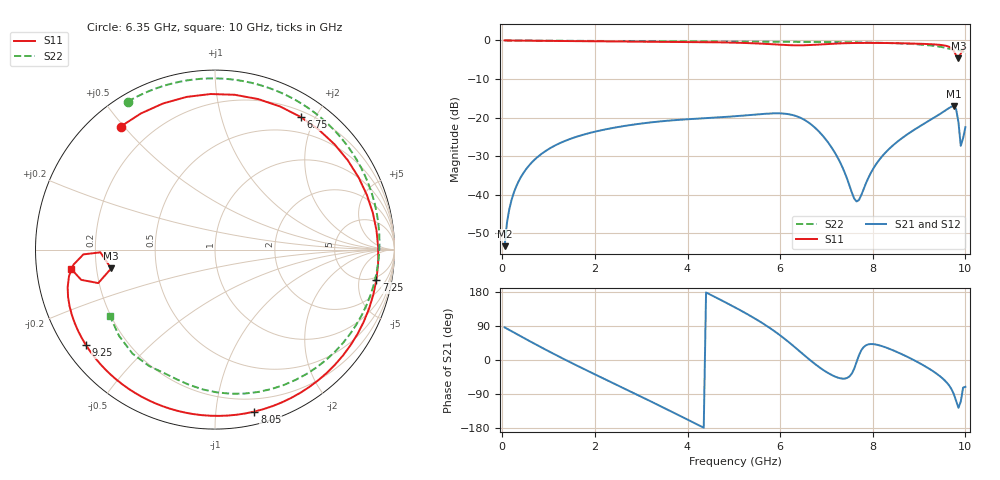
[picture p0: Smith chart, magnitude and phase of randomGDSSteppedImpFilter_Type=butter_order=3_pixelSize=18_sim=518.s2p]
! freq	dB(S11)	phase(S11)	dB(S12)	phase(S12)
!  dB(S21)	phase(S21)	dB(S22)	phase(S22)
!S-par simulation data
#  GHz  S  DB  R 50
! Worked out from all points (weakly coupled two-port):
!   200 points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, 50 MHz to 10 GHz, reference 50 ohm
!   highest |S21| = -17.05 dB at 9.75 GHz (marker M1); lowest = -53.3 dB at 50 MHz (marker M2)
!   lowest |S11| = -4.6 dB at 9.85 GHz (marker M3), VSWR 3.86, Z = 13.1 - j4.2 ohm
!   |S11| at or under -10 dB: nowhere
!   |S22| runs from -3.2 to 0.0 dB; largest |S21 - S12| = 0
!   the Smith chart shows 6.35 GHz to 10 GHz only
!   S11 on the Smith chart (normalised r, x): 6.35 GHz: 0.09, +0.49; 6.75 GHz: 0.28, +1.80; 7.25 GHz: 4.19, -8.71; 8.05 GHz: 0.10, -1.27; 9.25 GHz: 0.06, -0.33; 10 GHz: 0.11, -0.07
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0.05  -0.00 -4.5  -53.34 86.0  -53.34 86.0  -0.00 -2.3
0.3  -0.04 -27.0  -37.88 69.2  -37.88 69.2  -0.02 -13.9
0.9  -0.10 -79.5  -28.95 29.6  -28.95 29.6  -0.06 -41.1
1.75  -0.18 -150.2  -24.43 -23.1  -24.43 -23.1  -0.11 -77.1
2.45  -0.24 152.8  -22.55 -64.4  -22.55 -64.4  -0.14 -104.1
3.4  -0.32 73.0  -21.00 -120.8  -21.00 -120.8  -0.19 -137.5
4.25  -0.42 0.6  -20.24 -172.5  -20.24 -172.5  -0.24 -165.6
5.05  -0.59 -68.3  -19.63 137.2  -19.63 137.2  -0.30 167.9
5.5  -0.77 -112.1  -19.18 106.1  -19.18 106.1  -0.33 152.4
5.9  -1.03 -160.5  -18.90 74.0  -18.90 74.0  -0.36 137.9
6.35  -1.27 127.5  -19.63 30.4  -19.63 30.4  -0.38 120.6
6.7  -1.15 65.5  -22.08 -5.5  -22.08 -5.5  -0.39 105.9
6.75  -1.11 57.2  -22.60 -10.3  -22.60 -10.3  -0.39 103.7
7.25  -0.77 -10.7  -30.56 -46.7  -30.56 -46.7  -0.43 80.2
7.65  -0.66 -47.9  -41.75 -5.6  -41.75 -5.6  -0.49 59.1
8.05  -0.64 -76.3  -32.48 41.2  -32.48 41.2  -0.57 35.6
8.35  -0.67 -94.5  -28.15 30.0  -28.15 30.0  -0.67 16.3
9.25  -0.97 -143.6  -20.55 -25.5  -20.55 -25.5  -1.31 -53.7
9.75  -2.69 -177.9  -17.05 -89.9  -17.05 -89.9  -2.46 -106.5
9.85  -4.61 -169.7  -21.20 -126.1  -21.20 -126.1  -2.55 -119.6
9.9  -3.39 -164.0  -27.32 -110.0  -27.32 -110.0  -2.62 -128.4
10  -1.85 -172.3  -22.46 -70.9  -22.46 -70.9  -3.18 -147.5
